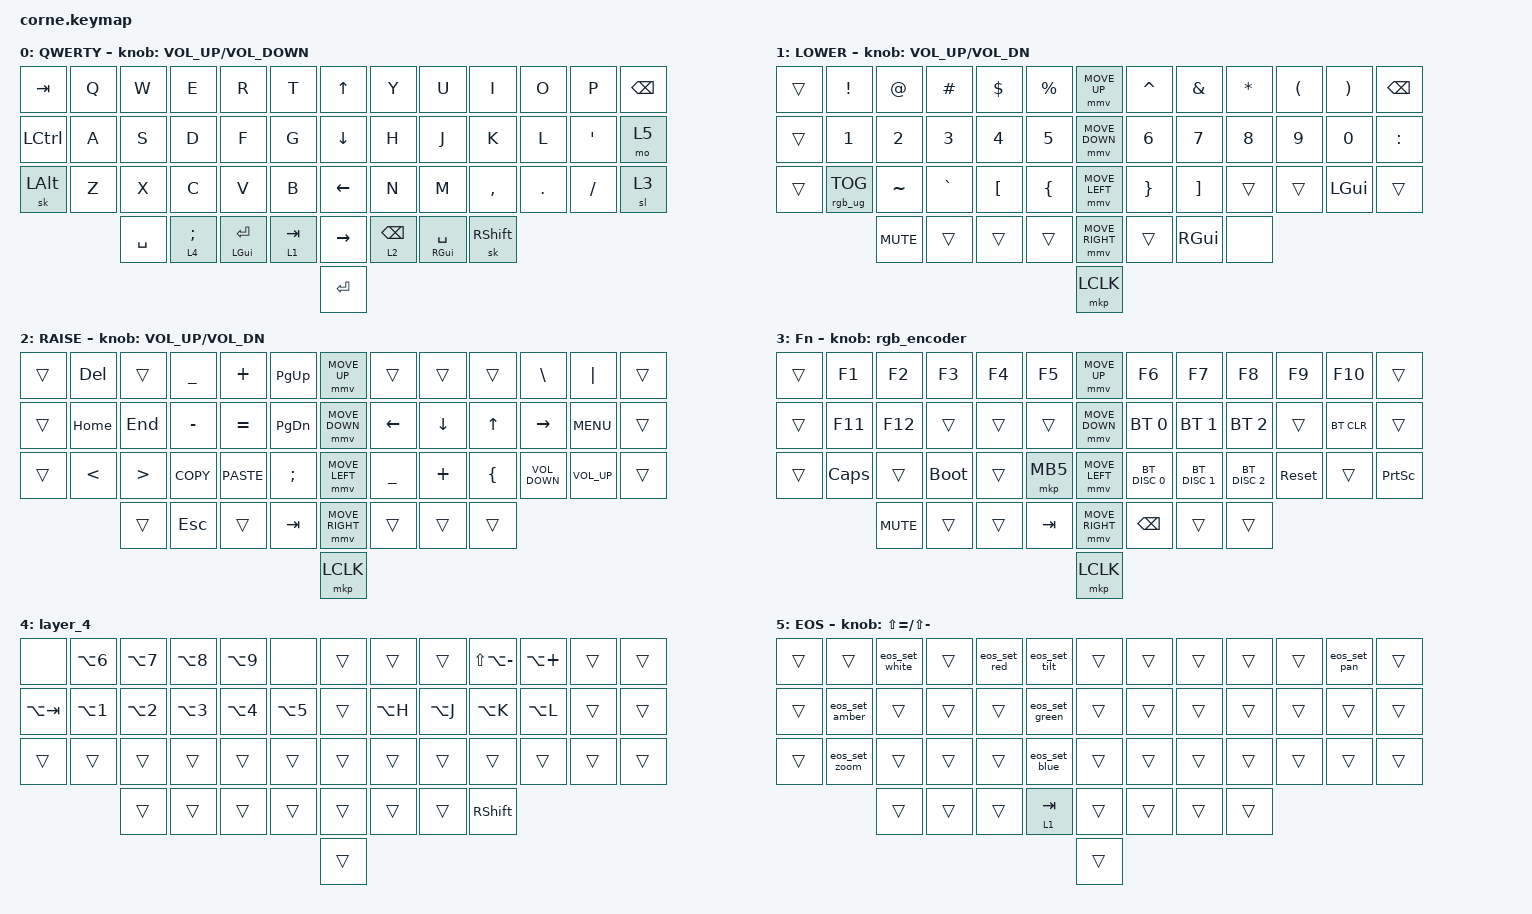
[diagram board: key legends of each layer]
#include <behaviors/mouse_keys.dtsi>
#include <behaviors.dtsi>
#include <dt-bindings/zmk/bt.h>
#include <dt-bindings/zmk/keys.h>
#include <dt-bindings/zmk/mouse.h>
#include <dt-bindings/zmk/rgb.h>

#define ZMK_MOUSE_DEFAULT_MOVE_VAL 1200  // 600
#define ZMK_MOUSE_DEFAULT_SCRL_VAL 20    // 10
#define U_MS_U &mmv MOVE_UP
#define U_MS_D &mmv MOVE_DOWN
#define U_MS_L &mmv MOVE_LEFT
#define U_MS_R &mmv MOVE_RIGHT

/ {
    behaviors {
        td0: td0 {
            compatible = "zmk,behavior-tap-dance";
            label = "TD0";
            #binding-cells = <0>;
            bindings = <&kp LEFT_SHIFT>, <&kp CAPS>;
        };

        mmv {
            acceleration-exponent = <1>;      // 1
            time-to-max-speed-ms = <900>;    // 40
            delay-ms = <0>;                   // 0
        };

        msc {
            acceleration-exponent = <1>;      // 0
            time-to-max-speed-ms = <400>;      // 500
            delay-ms = <0>;                   // 10
        };
    };

    rgb_encoder: rgb_encoder {
        compatible = "zmk,behavior-sensor-rotate";
        label = "RGB_ENCODER";
        #sensor-binding-cells = <0>;
        bindings = <&rgb_ug RGB_BRI>, <&rgb_ug RGB_BRD>;
    };

    scroll_encoder: scroll_encoder {
        compatible = "zmk,behavior-sensor-rotate";
        #sensor-binding-cells = <0>;
        bindings = <&msc SCRL_DOWN>, <&msc SCRL_UP>;

        tap-ms = <30>;
    };

    combos {
        compatible = "zmk,combos";

        esc-jk {
            bindings = <&kp ESCAPE>;
            key-positions = <21 22>;
        };

        mouseless-on {
            bindings = <&kp LEFT_COMMAND>;
            key-positions = <16 17>;
        };
    };

    macros {
        eos_set_white: eos_set_white {
            compatible = "zmk,behavior-macro";
            #binding-cells = <0>;
            bindings = <&kp M &kp N5 &kp N0 &kp N0 &kp ENTER>;
            label = "EOS_SET_WHITE";
        };

        eos_set_blue: eos_set_blue {
            compatible = "zmk,behavior-macro";
            #binding-cells = <0>;
            bindings = <&kp M &kp N5 &kp N0 &kp N1 &kp ENTER>;
            label = "EOS_SET_BLUE";
        };

        eos_set_green: eos_set_green {
            compatible = "zmk,behavior-macro";
            #binding-cells = <0>;
            bindings = <&kp M &kp N5 &kp N0 &kp N2 &kp ENTER>;
            label = "EOS_SET_GREEN";
        };

        eos_set_amber: eos_set_amber {
            compatible = "zmk,behavior-macro";
            #binding-cells = <0>;
            bindings = <&kp M &kp N5 &kp N0 &kp N3 &kp ENTER>;
            label = "EOS_SET_AMBER";
        };

        eos_set_red: eos_set_red {
            compatible = "zmk,behavior-macro";
            #binding-cells = <0>;
            bindings = <&kp M &kp N5 &kp N0 &kp N4 &kp ENTER>;
            label = "EOS_SET_RED";
        };

        eos_set_pan: eos_set_pan {
            compatible = "zmk,behavior-macro";
            #binding-cells = <0>;
            bindings = <&kp M &kp N5 &kp N0 &kp N5 &kp ENTER>;
            label = "EOS_SET_PAN";
        };

        eos_set_tilt: eos_set_tilt {
            compatible = "zmk,behavior-macro";
            #binding-cells = <0>;
            bindings = <&kp M &kp N5 &kp N0 &kp N6 &kp ENTER>;
            label = "EOS_SET_TILT";
        };

        eos_set_zoom: eos_set_zoom {
            compatible = "zmk,behavior-macro";
            #binding-cells = <0>;
            bindings = <&kp M &kp N5 &kp N0 &kp N7 &kp ENTER>;
            label = "EOS_SET_ZOOM";
        };
    };

    keymap {
        compatible = "zmk,keymap";

        default_layer {
            display-name = "QWERTY";

            // --------------------------------------------------------------------------------
            // |  TAB |  Q  |  W  |  E  |  R  |  T  |                ↑    |  Y  |  U   |  I  |  O  |  P  | BKSP |      &kp UP_ARROW
            // | SHIFT |  A  |  S  |  D  |  F  |  G  |               ↓    |  H  |  J   |  K  |  L  |  ;  |  '   |
            // | CTRL |  Z  |  X  |  C  |  V  |  B  |                ←    |  N  |  M   |  ,  |  .  |  /  | ESC  |
            //                    | GUI | LWR | SPC |                →    | ENT | RSE  | ALT |
            //                                                      enter

            bindings = <
&kp TAB           &kp Q  &kp W      &kp E            &kp R               &kp T        &kp UP_ARROW     &kp Y            &kp U                &kp I            &kp O    &kp P     &kp BSPC
&kp LEFT_CONTROL          &kp A  &kp S      &kp D            &kp F               &kp G        &kp DOWN_ARROW   &kp H            &kp J                &kp K            &kp L    &kp SQT   &mo 5
&sk LALT  &kp Z  &kp X      &kp C            &kp V               &kp B        &kp LEFT_ARROW   &kp N            &kp M                &kp COMMA        &kp DOT  &kp FSLH  &sl 3
                         &kp SPACE  &lt 4 SEMICOLON  &mt LEFT_GUI ENTER  &lt 1 TAB    &kp RIGHT_ARROW  &lt 2 BACKSPACE  &mt RIGHT_GUI SPACE  &sk RIGHT_SHIFT
                                                                                      &kp ENTER
            >;

            label = "QWERTY";
            sensor-bindings = <&inc_dec_kp C_VOLUME_UP C_VOLUME_DOWN>;
        };

        lower_layer {
            display-name = "LOWER";

            // -----------------------------------------------------------------------------------------
            // |  TAB |  1  |  2  |  3  |  4  |  5  |   |  6  |  7  |  8  |  9  |  0  | BKSP |
            // | BTCLR| BT1 | BT2 | BT3 | BT4 | BT5 |   | LFT | DWN |  UP | RGT |     |      |
            // | SHFT |     |     |     |     |     |   |     |     |     |     |     |      |
            //                    | GUI |     | SPC |   | ENT |     | ALT |

            bindings = <
&trans  &kp EXCLAMATION  &kp AT_SIGN   &kp HASH      &kp DOLLAR        &kp PERCENT       &mmv MOVE_UP     &kp CARET        &kp AMPERSAND      &kp ASTERISK  &kp LEFT_PARENTHESIS  &kp RIGHT_PARENTHESIS  &kp BSPC
&trans  &kp NUMBER_1     &kp NUMBER_2  &kp NUMBER_3  &kp NUMBER_4      &kp NUMBER_5      &mmv MOVE_DOWN   &kp NUMBER_6     &kp N7             &kp N8        &kp N9                &kp N0                 &kp COLON
&trans  &rgb_ug RGB_TOG  &kp TILDE     &kp GRAVE     &kp LEFT_BRACKET  &kp LEFT_BRACE    &mmv MOVE_LEFT   &kp RIGHT_BRACE  &kp RIGHT_BRACKET  &trans        &trans                &kp LEFT_GUI           &trans
                         &kp C_MUTE    &trans        &trans            &trans            &mmv MOVE_RIGHT  &trans           &kp RIGHT_GUI      &none
                                                                                         &mkp LCLK
            >;

            label = "LOWER";
            sensor-bindings = <&inc_dec_kp C_VOLUME_UP C_VOL_DN>;
        };

        raise_layer {
            display-name = "RAISE";

            // -----------------------------------------------------------------------------------------
            // |  TAB |  !  |  @  |  #  |  $  |  %  |   |  ^  |  &  |  *  |  (  |  )  | BKSP |
            // | CTRL |     |     |     |     |     |   |  -  |  =  |  [  |  ]  |  \  |  `   |
            // | SHFT |     |     |     |     |     |   |  _  |  +  |  {  |  }  | "|" |  ~   |
            //                    | GUI |     | SPC |   | ENT |     | ALT |

            bindings = <
&trans  &kp DELETE     &trans            &kp UNDERSCORE  &kp PLUS     &kp PAGE_UP      &mmv MOVE_UP     &trans     &trans    &trans        &kp BACKSLASH      &kp PIPE         &trans
&trans  &kp HOME       &kp END           &kp MINUS       &kp EQUAL    &kp PAGE_DOWN    &mmv MOVE_DOWN   &kp LEFT   &kp DOWN  &kp UP_ARROW  &kp RIGHT          &kp C_MENU       &trans
&trans  &kp LESS_THAN  &kp GREATER_THAN  &kp K_COPY      &kp K_PASTE  &kp SEMICOLON    &mmv MOVE_LEFT   &kp UNDER  &kp PLUS  &kp LBRC      &kp K_VOLUME_DOWN  &kp C_VOLUME_UP  &trans
                       &trans            &kp ESCAPE      &trans       &kp TAB          &mmv MOVE_RIGHT  &trans     &trans    &trans
                                                                                       &mkp LCLK
            >;

            label = "RAISE";
            sensor-bindings = <&inc_dec_kp C_VOL_UP C_VOL_DN>;
        };

        layer_3 {
            display-name = "Fn";
            bindings = <
&trans  &kp F1        &kp F2      &kp F3       &kp F4  &kp F5      &mmv MOVE_UP     &kp F6         &kp F7         &kp F8         &kp F9      &kp F10     &trans
&trans  &kp F11       &kp F12     &trans       &trans  &trans      &mmv MOVE_DOWN   &bt BT_SEL 0   &bt BT_SEL 1   &bt BT_SEL 2   &trans      &bt BT_CLR  &trans
&trans  &kp CAPSLOCK  &trans      &bootloader  &trans  &mkp MB5    &mmv MOVE_LEFT   &bt BT_DISC 0  &bt BT_DISC 1  &bt BT_DISC 2  &sys_reset  &trans      &kp PRINTSCREEN
                      &kp C_MUTE  &trans       &trans  &kp TAB     &mmv MOVE_RIGHT  &kp BACKSPACE  &trans         &trans
                                                                   &mkp LCLK
            >;

            label = "FN";
            sensor-bindings = <&rgb_encoder>;
        };

        layer_4 {
            bindings = <
&none        &kp LA(NUMBER_6)  &kp LA(NUMBER_7)  &kp LA(NUMBER_8)  &kp LA(N9)        &none         &trans  &trans     &trans     &kp LS(LA(MINUS))  &kp LA(PLUS)  &trans  &trans
&kp LA(TAB)  &kp LA(NUMBER_1)  &kp LA(NUMBER_2)  &kp LA(NUMBER_3)  &kp LA(NUMBER_4)  &kp LA(N5)    &trans  &kp LA(H)  &kp LA(J)  &kp LA(K)          &kp LA(L)     &trans  &trans
&trans       &trans            &trans            &trans            &trans            &trans        &trans  &trans     &trans     &trans             &trans        &trans  &trans
                               &trans            &trans            &trans            &trans        &trans  &trans     &trans     &kp RIGHT_SHIFT
                                                                                                   &trans
            >;
        };

        layer_5 {
            display-name = "EOS";
            bindings = <
&trans  &trans          &eos_set_white  &trans  &eos_set_red  &eos_set_tilt     &trans  &trans  &trans  &trans  &trans  &eos_set_pan  &trans
&trans  &eos_set_amber  &trans          &trans  &trans        &eos_set_green    &trans  &trans  &trans  &trans  &trans  &trans        &trans
&trans  &eos_set_zoom   &trans          &trans  &trans        &eos_set_blue     &trans  &trans  &trans  &trans  &trans  &trans        &trans
                        &trans          &trans  &trans        &lt 1 TAB         &trans  &trans  &trans  &trans
                                                                                &trans
            >;

            label = "EOS";
            sensor-bindings = <&inc_dec_kp LS(EQUAL) LS(MINUS)>;
        };
    };
};
